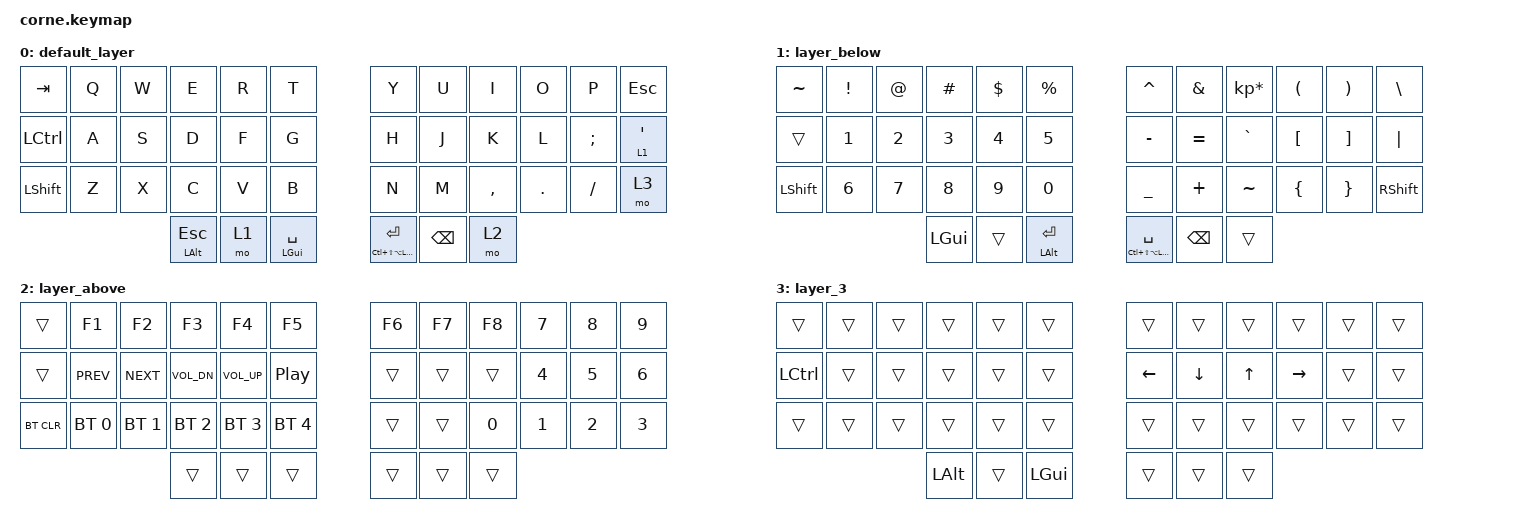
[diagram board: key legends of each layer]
/*
 * Copyright (c) 2020 The ZMK Contributors
 *
 * SPDX-License-Identifier: MIT
 */

#include <behaviors.dtsi>
#include <dt-bindings/zmk/bt.h>
#include <dt-bindings/zmk/keys.h>

/ {
    behaviors {
        tp: tap_preferred {
            compatible = "zmk,behavior-hold-tap";
            label = "TAP_PREFERRED";
            #binding-cells = <2>;
            tapping-term-ms = <150>;
            quick-tap-ms = <0>;
            flavor = "tap-preferred";
            bindings = <&kp>, <&kp>;
        };
    };

    keymap {
        compatible = "zmk,keymap";

        default_layer {
            // -----------------------------------------------------------------------------------------
            // | TAB  |  Q  |  W  |  E  |  R  |    T    |   |  Y  |  U   |  I  |  O  |  P  | ESC |
            // | CTRL |  A  |  S  |  D  |  F  |    G    |   |  H  |  J   |  K  |  L  |  ;  |  LWR/'   |
            // | SHFT |  Z  |  X  |  C  |  V  |    B    |   |  N  |  M   |  ,  |  .  |  /  | SHFT |
            //                    | GUI | LWR | ALT/ENT |   | HYPER/SPC | BKSP  | RSE |

            bindings = <
&kp TAB    &kp Q  &kp W  &kp E                &kp R  &kp T                 &kp Y                       &kp U     &kp I      &kp O    &kp P     &kp ESC
&kp LCTRL  &kp A  &kp S  &kp D                &kp F  &kp G                 &kp H                       &kp J     &kp K      &kp L    &kp SEMI  &lt 1 SQT
&kp LSHFT  &kp Z  &kp X  &kp C                &kp V  &kp B                 &kp N                       &kp M     &kp COMMA  &kp DOT  &kp FSLH  &mo 3
                         &mt LEFT_ALT ESCAPE  &mo 1  &tp LEFT_GUI SPACE    &tp LC(LS(LA(LGUI))) ENTER  &kp BSPC  &mo 2
            >;
        };

        layer_below {
            // -----------------------------------------------------------------------------------------
            // |      |  !  |  @  |  #  |  $  |    %     |   |  ^  |  &  |  *  |  (  |  )  |   \   |
            // |      |  1  |  2  |  3  |  4  |    5     |   |  -  |  =  |  `  |  [  |  ]  |  "|"  |
            // | SHFT |  6  |  7  |  8  |  9  |    0     |   |  _  |  +  |  ~  |  {  |  }  | RSHFT |
            //                     | GUI |     | ALT/ENT |   | HYPER/SPACE | BKSP |    |

            bindings = <
&kp TILDE  &kp EXCL  &kp AT  &kp HASH  &kp DLLR  &kp PRCNT       &kp CARET                   &kp AMPS   &kp KP_MULTIPLY  &kp LPAR  &kp RPAR  &kp BSLH
&trans     &kp N1    &kp N2  &kp N3    &kp N4    &kp N5          &kp MINUS                   &kp EQUAL  &kp GRAVE        &kp LBKT  &kp RBKT  &kp PIPE
&kp LSHFT  &kp N6    &kp N7  &kp N8    &kp N9    &kp N0          &kp UNDER                   &kp PLUS   &kp TILDE        &kp LBRC  &kp RBRC  &kp RSHFT
                             &kp LGUI  &trans    &tp LALT RET    &tp LC(LS(LA(LGUI))) SPACE  &kp BSPC   &trans
            >;
        };

        layer_above {
            // -----------------------------------------------------------------------------------------
            // |       |  F1  |  F2  |  F3  |  F4  |  F5 |            |  F6  |  F7  |  F8  |  F9  |  F10  |   |
            // |       | Prev | Next | Vol - | Vol + | Play/Pause |   |      | LFT | DWN |  UP | RGT |     |     |
            // | BTCLR | BT1 | BT2 | BT3 | BT4 | BT5 |   |            |     |     |     |     |     |     |
            //                    |     |     |    |                  |     |     |     |

            bindings = <
&trans      &kp F1        &kp F2        &kp F3        &kp F4        &kp F5          &kp F6  &kp F7  &kp F8  &kp N7  &kp N8  &kp N9
&trans      &kp C_PREV    &kp C_NEXT    &kp C_VOL_DN  &kp C_VOL_UP  &kp C_PP        &trans  &trans  &trans  &kp N4  &kp N5  &kp N6
&bt BT_CLR  &bt BT_SEL 0  &bt BT_SEL 1  &bt BT_SEL 2  &bt BT_SEL 3  &bt BT_SEL 4    &trans  &trans  &kp N0  &kp N1  &kp N2  &kp N3
                                        &trans        &trans        &trans          &trans  &trans  &trans
            >;
        };

        layer_3 {
            bindings = <
&trans            &trans  &trans  &trans        &trans  &trans          &trans          &trans          &trans        &trans           &trans  &trans
&kp LEFT_CONTROL  &trans  &trans  &trans        &trans  &trans          &kp LEFT_ARROW  &kp DOWN_ARROW  &kp UP_ARROW  &kp RIGHT_ARROW  &trans  &trans
&trans            &trans  &trans  &trans        &trans  &trans          &trans          &trans          &trans        &trans           &trans  &trans
                                  &kp LEFT_ALT  &trans  &kp LEFT_GUI    &trans          &trans          &trans
            >;
        };
    };
};
